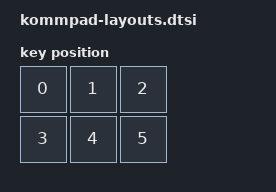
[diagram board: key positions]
#include <physical_layouts.dtsi>

/ {
    kommpad_physical_layout: kommpad_physical_layout {
        compatible = "zmk,physical-layout";
        display-name = "kommpad";
        transform = <&default_transform>;
        kscan = <&kscan0>;
        keys
            = <&key_physical_attrs 100 100    0    0       0     0     0>
            , <&key_physical_attrs 100 100  100    0       0     0     0>
            , <&key_physical_attrs 100 100  200    0       0     0     0>
            , <&key_physical_attrs 100 100    0  100       0     0     0>
            , <&key_physical_attrs 100 100  100  100       0     0     0>
            , <&key_physical_attrs 100 100  200  100       0     0     0>;
    };
};
